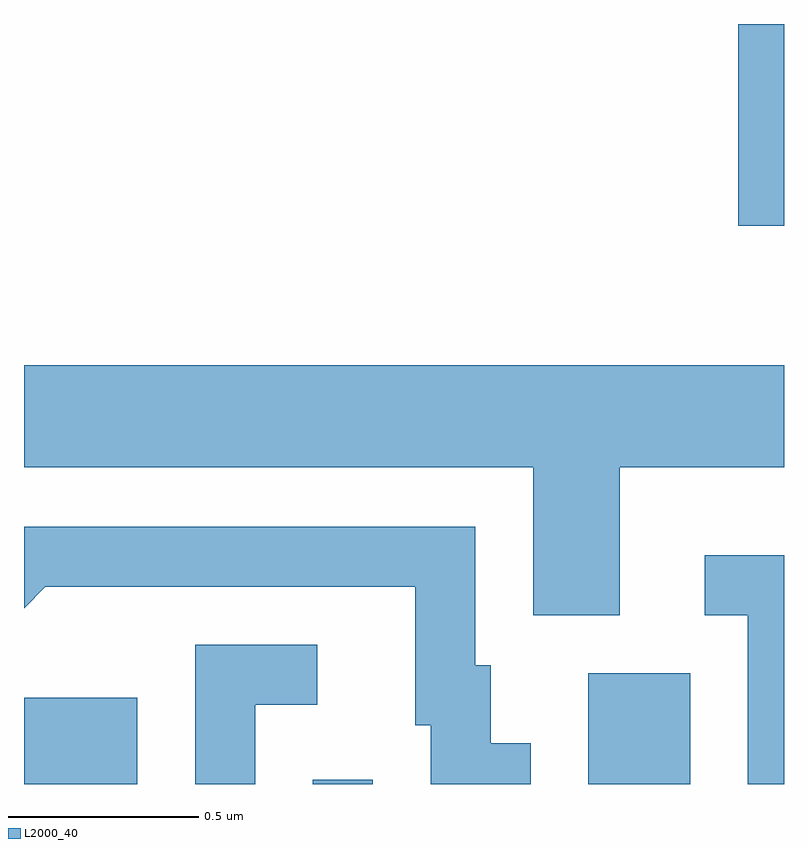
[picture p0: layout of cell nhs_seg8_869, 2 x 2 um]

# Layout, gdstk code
import gdstk
lib = gdstk.Library(unit=1e-6, precision=1e-09)
def R(c, l, rs):  # rectangles x0, y0, x1, y1
    for r in rs: c.add(gdstk.rectangle(r[:2], r[2:], *l))
def P(c, l, *ps):  # polygons
    for p in ps: c.add(gdstk.Polygon(p, *l))
L2000_40 = (2000, 40)

nhs_seg8_869 = lib.new_cell('nhs_seg8_869')
R(nhs_seg8_869, L2000_40, [(191.611,1853.342,191.909,1853.569), (192.371,1853.342,192.529,1853.353), (193.096,1853.342,193.364,1853.634), (193.491,1854.811,193.611,1855.342)])
P(nhs_seg8_869, L2000_40, [(193.179,1854.176),(193.611,1854.176),(193.611,1854.444),(191.611,1854.444),(191.611,1854.176),(192.951,1854.176),(192.951,1853.786),(193.179,1853.786)],
  [(192.944,1853.449),(192.839,1853.449),(192.839,1853.654),(192.799,1853.654),(192.799,1854.019),(191.611,1854.019),(191.611,1853.805),(191.667,1853.861),(192.641,1853.861),(192.641,1853.496),(192.681,1853.496),(192.681,1853.342),(192.944,1853.342)],
  [(193.611,1853.944),(193.403,1853.944),(193.403,1853.786),(193.516,1853.786),(193.516,1853.342),(193.611,1853.342)],
  [(192.219,1853.551),(192.383,1853.551),(192.383,1853.709),(192.061,1853.709),(192.061,1853.342),(192.219,1853.342)])

lib.write_gds('nhs_seg8_869.gds')
